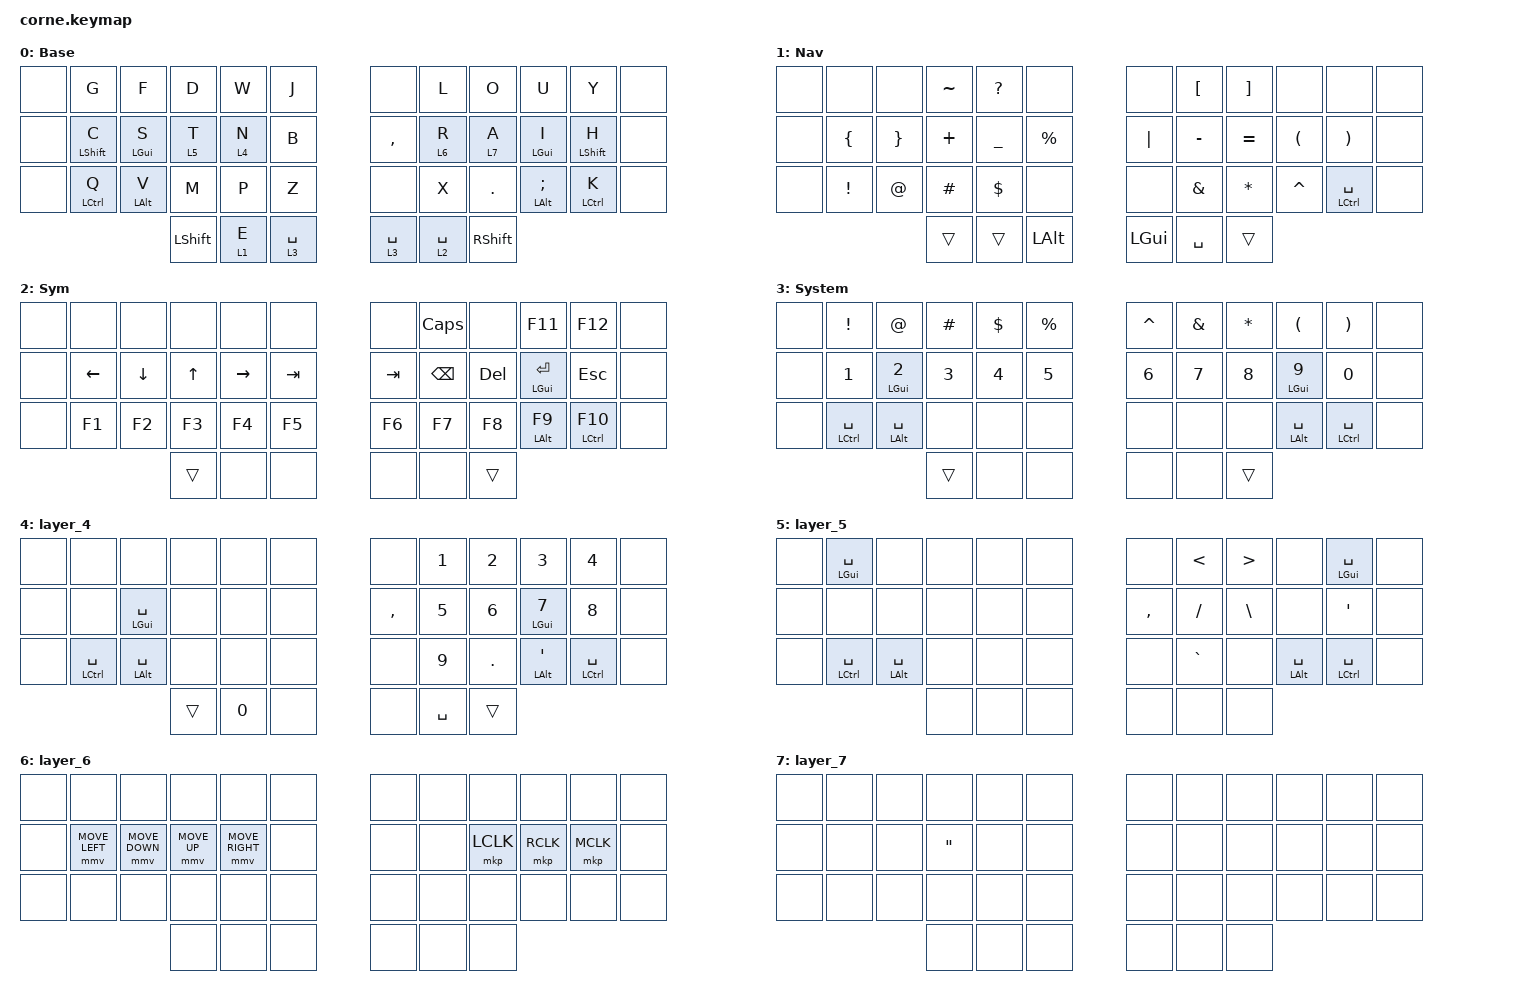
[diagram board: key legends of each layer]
#include <behaviors.dtsi>
#include <dt-bindings/zmk/keys.h>
#include <dt-bindings/zmk/pointing.h>
#include <dt-bindings/zmk/pointing.h>

#define DEF 0
#define NAV 1
#define SYM 2
#define ADJ 3
#define ADA 4
#define ADB 5
#define ADC 6
#define ADD 7
#define ADF 8

//testing mouse movement and scroll binds...

/ {
    behaviors {
        hm: homerow_mods {
            compatible = "zmk,behavior-hold-tap";
            label = "HOMEROW_MODS";
            #binding-cells = <2>;
            tapping-term-ms = <200>;
            quick_tap_ms = <0>;
            flavor = "tap-preferred";
            bindings = <&kp>, <&kp>;

            quick-tap-ms = <180>;
            global-quick-tap;
        };

        para: para {
            compatible = "zmk,behavior-tap-dance";
            label = "PARA";
            #binding-cells = <0>;
            bindings = <&kp LEFT_PARENTHESIS>, <&kp RIGHT_PARENTHESIS>;
        };

        caps: caps {
            compatible = "zmk,behavior-caps-word";
            label = "CAPS";
            #binding-cells = <0>;
            continue-list = <MINUS BACKSPACE>;
        };

        paraless: paraless {
            compatible = "zmk,behavior-mod-morph";
            label = "PARALESS";
            bindings = <&kp LEFT_PARENTHESIS>, <&kp LESS_THAN>;

            #binding-cells = <0>;
            mods = <(MOD_LSFT)>;
        };

        paragreat: paragreat {
            compatible = "zmk,behavior-mod-morph";
            label = "PARAGREAT";
            bindings = <&kp RIGHT_PARENTHESIS>, <&kp GREATER_THAN>;

            #binding-cells = <0>;
            mods = <(MOD_LSFT)>;
        };
    };

    combos {
        compatible = "zmk,combos";

        escape {
            bindings = <&kp ESCAPE>;
            key-positions = <13 29>;
        };
    };

    //

    keymap {
        compatible = "zmk,keymap";

        DEF {
            display-name = "Base";

            // -----------------------------------------------------------------------------------------
            // |  Q  |  W  |  E  |  R  |  T  |   |  Y  |  U   |  I  |  O  |  P  |
            // |  A  |  S  |  D  |  F  |  G  |   |  H  |  J   |  K  |  L  |  ;  |
            // |  Z  |  X  |  C  |  V  |  B  |   |  N  |  M   |  ,  |  .  |  /  |
            // | GUI | CTRL | SHFT | LWR | SPC |   | ENT | RSE  | BKSP | ALT | ESC |

            bindings = <
&none  &kp G             &kp F           &kp D           &kp W    &kp J          &none        &kp L        &kp O            &kp U                   &kp Y               &none
&none  &hm LEFT_SHIFT C  &hm LEFT_GUI S  &lt 5 T         &lt 4 N  &kp B          &kp COMMA    &lt 6 R      &lt 7 A          &hm LEFT_GUI I          &hm LEFT_SHIFT H    &none
&none  &hm LCTRL Q       &hm LEFT_ALT V  &kp M           &kp P    &kp Z          &none        &kp X        &kp PERIOD       &hm LEFT_ALT SEMICOLON  &hm LEFT_CONTROL K  &none
                                         &kp LEFT_SHIFT  &lt 1 E  &lt 3 SPACE    &lt 3 SPACE  &lt 2 SPACE  &kp RIGHT_SHIFT
            >;
        };

        NAV {
            display-name = "Nav";

            // -----------------------------------------------------------------------------------------
            // |  TAB |  1  |  2  |  3  |  4  |  5  |   |  6  |  7  |  8  |  9  |  0  | BKSP |
            // | BTCLR| BT1 | BT2 | BT3 | BT4 | BT5 |   | LFT | DWN |  UP | RGT |     |      |
            // | SHFT |     |     |     |     |     |   |     |     |     |     |     |      |
            // | GUI | CTRL | SHFT | LWR | SPC |   | ENT | RSE  | BKSP | ALT | ESC |

            bindings = <
&none  &none            &none            &kp TILDE  &kp QUESTION    &none           &none         &kp LEFT_BRACKET  &kp RIGHT_BRACKET  &none                 &none                  &none
&none  &kp LEFT_BRACE   &kp RIGHT_BRACE  &kp PLUS   &kp UNDERSCORE  &kp PERCENT     &kp PIPE      &kp MINUS         &kp EQUAL          &kp LEFT_PARENTHESIS  &kp RIGHT_PARENTHESIS  &none
&none  &kp EXCLAMATION  &kp AT_SIGN      &kp HASH   &kp DOLLAR      &none           &none         &kp AMPERSAND     &kp ASTERISK       &kp CARET             &hm LCTRL SPACE        &none
                                         &trans     &trans          &kp LEFT_ALT    &kp LEFT_GUI  &kp SPACE         &trans
            >;
        };

        SYM {
            display-name = "Sym";

            // -----------------------------------------------------------------------------------------
            // |  TAB |  !  |  @  |  #  |  $  |  %  |   |  ^  |  &  |  *  |  (  |  )  | BKSP |
            // | CTRL |     |     |     |     |     |   |  -  |  =  |  [  |  ]  |  \  |  `   |
            // | SHFT |     |     |     |     |     |   |  _  |  +  |  {  |  }  | "|" |  ~   |
            //                    | GUI |     | SPC |   | ENT |     | ALT |

            bindings = <
&none  &none           &none           &none         &none            &none      &none    &kp CAPS       &none    &kp F11             &kp F12        &none
&none  &kp LEFT_ARROW  &kp DOWN_ARROW  &kp UP_ARROW  &kp RIGHT_ARROW  &kp TAB    &kp TAB  &kp BACKSPACE  &kp DEL  &hm LEFT_GUI ENTER  &kp ESCAPE     &none
&none  &kp F1          &kp F2          &kp F3        &kp F4           &kp F5     &kp F6   &kp F7         &kp F8   &hm LEFT_ALT F9     &hm LCTRL F10  &none
                                       &trans        &none            &none      &none    &none          &trans
            >;
        };

        ADJ {
            display-name = "System";
            bindings = <
&none  &kp EXCLAMATION  &kp AT_SIGN            &kp HASH      &kp DOLLAR    &kp PERCENT    &kp CARET     &kp AMPERSAND  &kp ASTERISK  &kp LEFT_PARENTHESIS  &kp RIGHT_PARENTHESIS  &none
&none  &kp NUMBER_1     &hm LEFT_GUI NUMBER_2  &kp NUMBER_3  &kp NUMBER_4  &kp N5         &kp NUMBER_6  &kp NUMBER_7   &kp N8        &hm LEFT_GUI N9       &kp N0                 &none
&none  &hm LCTRL SPACE  &hm LEFT_ALT SPACE     &none         &none         &none          &none         &none          &none         &hm LEFT_ALT SPACE    &hm LCTRL SPACE        &none
                                               &trans        &none         &none          &none         &none          &trans
            >;
        };

        layer_4 {
            bindings = <
&none  &none            &none               &none   &none   &none    &none      &kp N1     &kp N2   &kp N3             &kp N4           &none
&none  &none            &hm LEFT_GUI SPACE  &none   &none   &none    &kp COMMA  &kp N5     &kp N6   &hm LEFT_GUI N7    &kp N8           &none
&none  &hm LCTRL SPACE  &hm LEFT_ALT SPACE  &none   &none   &none    &none      &kp N9     &kp DOT  &hm LEFT_ALT APOS  &hm LCTRL SPACE  &none
                                            &trans  &kp N0  &none    &none      &kp SPACE  &trans
            >;
        };

        layer_5 {
            bindings = <
&none  &hm LEFT_GUI SPACE  &none               &none  &none  &none    &none      &kp LESS_THAN  &kp GREATER_THAN  &none               &hm LEFT_GUI SPACE  &none
&none  &none               &none               &none  &none  &none    &kp COMMA  &kp FSLH       &kp BSLH          &none               &kp APOS            &none
&none  &hm LCTRL SPACE     &hm LEFT_ALT SPACE  &none  &none  &none    &none      &kp GRAVE      &none             &hm LEFT_ALT SPACE  &hm LCTRL SPACE     &none
                                               &none  &none  &none    &none      &none          &none
            >;
        };

        layer_6 {
            bindings = <
&none  &none           &none           &none         &none            &none    &none  &none  &none      &none      &none      &none
&none  &mmv MOVE_LEFT  &mmv MOVE_DOWN  &mmv MOVE_UP  &mmv MOVE_RIGHT  &none    &none  &none  &mkp LCLK  &mkp RCLK  &mkp MCLK  &none
&none  &none           &none           &none         &none            &none    &none  &none  &none      &none      &none      &none
                                       &none         &none            &none    &none  &none  &none
            >;
        };

        layer_7 {
            bindings = <
&none  &none  &none  &none              &none  &none    &none  &none  &none  &none  &none  &none
&none  &none  &none  &kp DOUBLE_QUOTES  &none  &none    &none  &none  &none  &none  &none  &none
&none  &none  &none  &none              &none  &none    &none  &none  &none  &none  &none  &none
                     &none              &none  &none    &none  &none  &none
            >;
        };
    };
};
